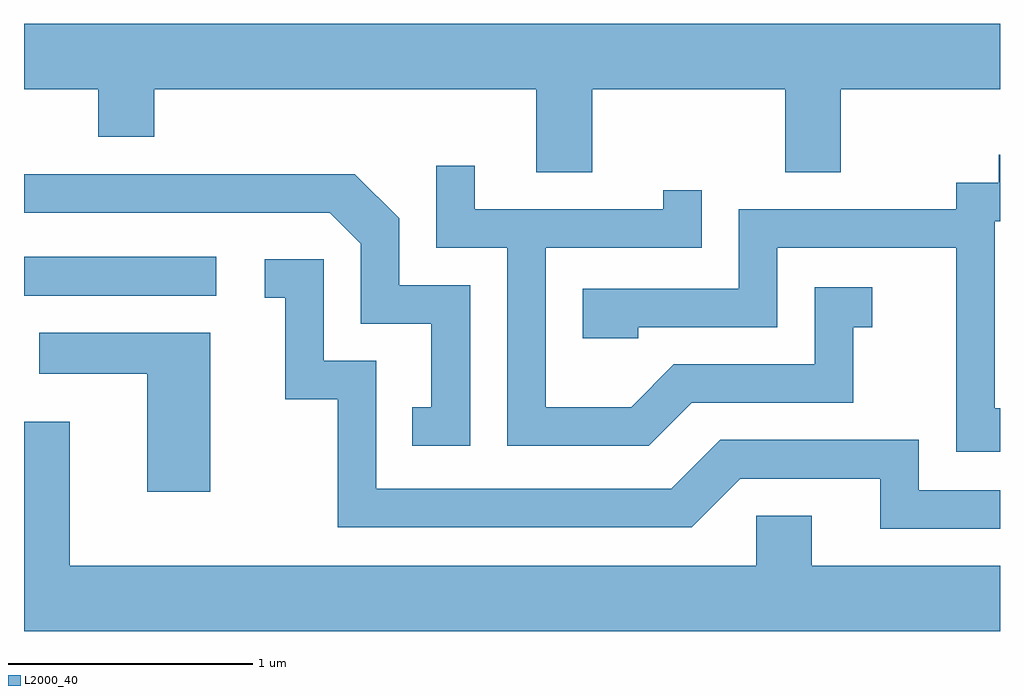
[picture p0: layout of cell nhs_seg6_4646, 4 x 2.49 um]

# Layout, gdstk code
import gdstk
lib = gdstk.Library(unit=1e-6, precision=1e-09)
def R(c, l, rs):  # rectangles x0, y0, x1, y1
    for r in rs: c.add(gdstk.rectangle(r[:2], r[2:], *l))
def P(c, l, *ps):  # polygons
    for p in ps: c.add(gdstk.Polygon(p, *l))
L2000_40 = (2000, 40)

nhs_seg6_4646 = lib.new_cell('nhs_seg6_4646')
R(nhs_seg6_4646, L2000_40, [(327.611,1566.951,328.398,1567.109)])
P(nhs_seg6_4646, L2000_40, [(329.939,1567.796),(330.731,1567.796),(330.731,1567.456),(330.959,1567.456),(330.959,1567.796),(331.611,1567.796),(331.611,1568.064),(327.611,1568.064),(327.611,1567.796),(327.916,1567.796),(327.916,1567.601),(328.144,1567.601),(328.144,1567.796),(329.711,1567.796),(329.711,1567.456),(329.939,1567.456)],
  [(331.611,1566.489),(331.589,1566.489),(331.589,1567.256),(331.611,1567.256),(331.611,1567.528),(331.606,1567.528),(331.606,1567.414),(331.431,1567.414),(331.431,1567.304),(330.541,1567.304),(330.541,1566.979),(329.901,1566.979),(329.901,1566.776),(330.129,1566.776),(330.129,1566.821),(330.699,1566.821),(330.699,1567.146),(331.431,1567.146),(331.431,1566.311),(331.611,1566.311)],
  [(330.347,1566.511),(331.009,1566.511),(331.009,1566.821),(331.088,1566.821),(331.088,1566.984),(330.851,1566.984),(330.851,1566.669),(330.274,1566.669),(330.099,1566.494),(329.749,1566.494),(329.749,1567.146),(330.389,1567.146),(330.389,1567.383),(330.231,1567.383),(330.231,1567.304),(329.459,1567.304),(329.459,1567.483),(329.301,1567.483),(329.301,1567.146),(329.591,1567.146),(329.591,1566.336),(330.172,1566.336)],
  [(329.439,1566.994),(329.149,1566.994),(329.149,1567.267),(328.967,1567.449),(327.611,1567.449),(327.611,1567.291),(328.864,1567.291),(328.991,1567.164),(328.991,1566.836),(329.281,1566.836),(329.281,1566.494),(329.203,1566.494),(329.203,1566.336),(329.439,1566.336)],
  [(331.611,1566.154),(331.279,1566.154),(331.279,1566.359),(330.464,1566.359),(330.264,1566.159),(329.054,1566.159),(329.054,1566.684),(328.839,1566.684),(328.839,1567.099),(328.598,1567.099),(328.598,1566.941),(328.681,1566.941),(328.681,1566.526),(328.896,1566.526),(328.896,1566.001),(330.347,1566.001),(330.547,1566.201),(331.121,1566.201),(331.121,1565.996),(331.611,1565.996)],
  [(328.374,1566.799),(327.673,1566.799),(327.673,1566.631),(328.116,1566.631),(328.116,1566.146),(328.374,1566.146)],
  [(331.611,1565.844),(330.839,1565.844),(330.839,1566.049),(330.611,1566.049),(330.611,1565.844),(327.799,1565.844),(327.799,1566.434),(327.611,1566.434),(327.611,1565.576),(331.611,1565.576)])

lib.write_gds('nhs_seg6_4646.gds')
